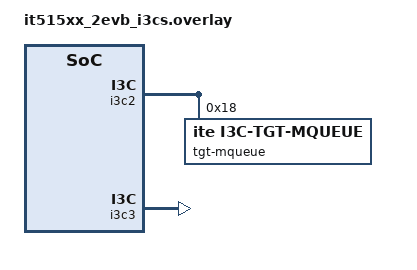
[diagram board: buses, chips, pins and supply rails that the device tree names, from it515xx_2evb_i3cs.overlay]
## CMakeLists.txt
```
# SPDX-License-Identifier: Apache-2.0

cmake_minimum_required(VERSION 3.20.0)

find_package(Zephyr REQUIRED HINTS $ENV{ZEPHYR_BASE})
project(hello_world)

if (CONFIG_ITE_2EVB_TEST OR CONFIG_ITE_LPS22DF_TEST OR CONFIG_ITE_I2C_TEST)
target_sources(app PRIVATE src/ite_i3c_sample.c)
if(CONFIG_I3C_TARGET)
target_sources(app PRIVATE src/libi3c_target.c)
endif() # CONFIG_I3C_TARGET
if(CONFIG_I3C_CONTROLLER)
target_sources(app PRIVATE src/libi3c_controller.c)
endif() # CONFIG_I3C_CONTROLLER
else()
target_sources(app PRIVATE src/main.c)
endif() # CONFIG_ITE_2EVB_TEST
```

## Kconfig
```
config INPUT_KBD_MATRIX
    default y

config INPUT_KBD_DRIVE_COLUMN_HOOK
    default y

source "Kconfig.zephyr"
```

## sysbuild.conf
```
SB_CONFIG_BOOTLOADER_MCUBOOT=y
SB_CONFIG_MCUBOOT_MODE_SWAP_USING_MOVE=y
# note that the swap-using-scratch algorithm may be removed in the coming future.
# SB_CONFIG_MCUBOOT_MODE_SWAP_SCRATCH=y

SB_CONFIG_BOOT_SIGNATURE_TYPE_RSA=y
SB_CONFIG_BOOT_SIGNATURE_KEY_FILE="/home/ren/zephyrproject/keys/it51xxx-rsa-2048.pem"
```

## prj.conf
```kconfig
CONFIG_FLASH=y
CONFIG_FLASH_MAP=y
CONFIG_STREAM_FLASH=y
CONFIG_IMG_MANAGER=y
CONFIG_MCUBOOT_IMG_MANAGER=y

CONFIG_LOG=y
CONFIG_SHELL=y
CONFIG_MCUBOOT_SHELL=y

CONFIG_REBOOT=y

CONFIG_ASSERT=y
```

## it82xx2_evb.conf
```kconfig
CONFIG_TEST=y
CONFIG_ASSERT=y
CONFIG_SHELL=y
CONFIG_LOG=y

# INPUT
CONFIG_INPUT=y

# SPI
CONFIG_SPI=y
CONFIG_SPI_LOG_LEVEL_INF=y
```

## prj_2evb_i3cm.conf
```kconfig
CONFIG_I3C=y
CONFIG_I3C_SHELL=y
CONFIG_LOG=y
CONFIG_SHELL=y
CONFIG_ITE_2EVB_TEST=y
CONFIG_ITE_LPS22DF_TEST=n
CONFIG_PM=y
CONFIG_I3C_CONTROLLER_ROLE_ONLY=y

# IT51XXX target(I3CS) only supports I3C v1.0
CONFIG_I3C_INIT_RSTACT=n

# Set dlm size as 1024(tx/rx 512 bytes)
CONFIG_I3CM_IT51XXX_DLM_SIZE=1024
```

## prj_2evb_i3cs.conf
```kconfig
CONFIG_I3C=y
CONFIG_I3C_SHELL=y
CONFIG_LOG=y
CONFIG_SHELL=y
CONFIG_ITE_2EVB_TEST=y
CONFIG_I3C_TARGET_ROLE_ONLY=y

# Enable I3CS direct mode for tx and rx
CONFIG_I3CS_TX_FIFO_4096_BYTE=y
CONFIG_I3CS_RX_FIFO_4096_BYTE=y
```

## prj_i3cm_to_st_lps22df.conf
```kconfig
CONFIG_I3C=y
CONFIG_I3C_SHELL=y
CONFIG_LOG=y
CONFIG_SENSOR=y
CONFIG_LPS2XDF=y
CONFIG_SHELL=y
CONFIG_SENSOR_SHELL=y
CONFIG_ITE_2EVB_TEST=n
CONFIG_ITE_LPS22DF_TEST=y
```

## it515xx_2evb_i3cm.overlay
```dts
/*
 * Copyright (c) 2025 ITE Corporation. All Rights Reserved.
 *
 * SPDX-License-Identifier: Apache-2.0
 */
&pinctrl {
	i3c0_clk_gpj3_default: i3c0_clk_gpj3_default {
		gpio-voltage = "1v8";
	};
	i3c0_data_gpj4_default: i3c0_data_gpj4_default {
		gpio-voltage = "1v8";
	};
	i3c1_clk_gpj5_default: i3c1_clk_gpj5_default {
		gpio-voltage = "1v8";
	};
	i3c1_data_gpe1_default: i3c1_data_gpe1_default {
		gpio-voltage = "1v8";
	};
};

&i3c0 {
	status = "okay";
	pinctrl-0 = <&i3c0_clk_gpj3_default
		     &i3c0_data_gpj4_default>;
	pinctrl-names = "default";
	i3c-scl-hz = <6000000>;
	i3c-od-scl-hz = <400000>;
	i2c-scl-hz = <400000>;
	//i3c-scl-hddat = <1>;
	i2c-scl-hddat = <2>;

	i3c_dummy@18000005fa12345678 {
		compatible = "ite,i3c-ctrl-dummy";
		reg = <0x18 0x05fa 0x12345678>;
		label = "i3c_dummy_1";
		supports-setaasa;
		status = "okay"; //disable for i2c private test
	};
	i3c_dummy@19000005fa00010000 {
		compatible = "ite,i3c-ctrl-dummy";
		reg = <0x19 0x05fa 0x00010000>;
		label = "i3c_dummy_2";
		supports-setaasa;
		status = "okay"; //disable for i2c private test
	};
	i2c_dummy@200000000000000050 {
		compatible = "ite,i3c-ctrl-dummy";
		reg = <0x20 0x0000 0x00000050>;
		label = "i2c_dummy";
		status = "disabled";
	};
};

&i3c1 {
	status = "okay";
	pinctrl-0 = <
		     &i3c1_clk_gpj5_default
		     &i3c1_data_gpe1_default>;
	pinctrl-names = "default";
	i3c-scl-hz = <2670000>; // 2.67MHz
	i3c-od-scl-hz = <650000>; // 0.65MHz
	i2c-scl-hz = <400000>;
	i3c-pp-duty-cycle = <89>;
	i3c-scl-tcas = <4>;
	i3c-scl-tcbs = <4>;
	i3c-scl-tcasr = <4>;
	i3c-scl-tcbsr = <4>;

	/* Frequency 400KHz */
	//i3c-od-scl-lo-period-ns = <1250>;
	//i3c-pp-scl-hi-period-ns = <1250>;
	//i3c-pp-scl-lo-period-ns = <1250>;
	//i3c-clk-after-start-ns = <1250>;
	//i3c-clk-before-stop-ns = <1250>;
	//i3c-clk-after-sr-ns = <1250>;
	//i3c-clk-before-sr-ns = <1250>;

	/* Frequency 1MHz */
	//i3c-od-scl-lo-period-ns = <500>;
	//i3c-pp-scl-hi-period-ns = <500>;
	//i3c-pp-scl-lo-period-ns = <500>;
	//i3c-clk-after-start-ns = <500>;
	//i3c-clk-before-stop-ns = <500>;
	//i3c-clk-after-sr-ns = <500>;
	//i3c-clk-before-sr-ns = <500>;

	lps22df@000000020800b4900b {
		//compatible = "st,lps22df";
		compatible = "ite,i3c-ctrl-dummy";
		reg = <0x00 0x0208 0x00b4900b>;
		label = "i3c_sensor_2";

		status = "disabled";
	};
};
```

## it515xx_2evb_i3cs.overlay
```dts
/*
 * Copyright (c) 2025 ITE Corporation. All Rights Reserved.
 *
 * SPDX-License-Identifier: Apache-2.0
 */

&pinctrl {
	i3c2_clk_gpe2_default: i3c2_clk_gpe2_default {
		gpio-voltage = "1v8";
	};
	i3c2_data_gpe3_default: i3c2_data_gpe3_default {
		gpio-voltage = "1v8";
	};
	i3c3_clk_gpf0_default: i3c3_clk_gpf0_default {
		gpio-voltage = "1v8";
	};
	i3c3_data_gpf1_default: i3c3_data_gpf1_default {
		gpio-voltage = "1v8";
	};
};

&i3c2 {
	status = "okay";

	pinctrl-0 = <
		     &i3c2_clk_gpe2_default
		     &i3c2_data_gpe3_default>;
	pinctrl-names = "default";
	static-address = <0x18>;
	pid-random-value = <0x12345678>;
	bcr = <0xf>; // With ibi payload
	dcr = <0x1>;

	tgt_mqueue@18 {
		compatible = "ite,i3c-tgt-mqueue";
		reg = <0x18>;
		label = "tgt-mqueue";
		status = "okay";
	};
};

&i3c3 {
	status = "okay";

	pinctrl-0 = <
		     &i3c3_clk_gpf0_default
		     &i3c3_data_gpf1_default>;
	pinctrl-names = "default";
	static-address = <0x19>;
	// bcr = <0xb>; // Without ibi payload
	bcr = <0x9>; // ibi is not capable
	dcr = <0x2>;
};
```

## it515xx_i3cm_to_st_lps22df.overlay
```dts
/*
 * Copyright (c) 2025 ITE Corporation. All Rights Reserved.
 *
 * SPDX-License-Identifier: Apache-2.0
 */
#include <zephyr/dt-bindings/sensor/lps2xdf.h>

&i3c0 {
	status = "okay";
	pinctrl-0 = <&i3c0_clk_gpj3_default
		     &i3c0_data_gpj4_default>;
	pinctrl-names = "default";
	i3c-scl-hz = <2530000>; // 2.53MHz
	i3c-od-scl-hz = <650000>; // 0.65MHz
	i2c-scl-hz = <400000>;
	i3c-pp-duty-cycle = <84>;
	i3c-scl-tcas = <5>;
	i3c-scl-tcbs = <5>;
	i3c-scl-tcasr = <5>;
	i3c-scl-tcbsr = <5>;

	/* SD0 should be connected to gnd */
	lps22df_0@5c0000020800b4100b {
		compatible = "ite,i3c-ctrl-dummy";
		reg = <0x5c 0x0208 0x00b4100b>;
		label = "ctrl_dummy_sensor";
		status = "okay";
	};

	/* SD0 should be connected to vdd */
	lps22df_1@5d0000020800b4900b {
		compatible = "st,lps22df";
		reg = <0x5d 0x0208 0x00b4900b>;
		label = "st_lps22df";
		odr = <LPS2xDF_DT_ODR_10HZ>;
		lpf = <LPS2xDF_DT_LP_FILTER_ODR_4>;
		avg = <LPS2xDF_DT_AVG_128_SAMPLES>;
		drdy-gpios = <&gpioe 0 0>;
		drdy-pulsed;
		status = "okay";
	};
};

&i3c1 {
	status = "disabled";
	pinctrl-0 = <
		     &i3c1_clk_gpj5_default
		     &i3c1_data_gpe1_default>;
	pinctrl-names = "default";
};
```

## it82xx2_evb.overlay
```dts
/ {
	chosen {
		cros-ec,keyboard = &kbd;
	};
};

&kbd {

	pinctrl-0 = <&ksi0_default
		     &ksi1_default
		     &ksi3_default
		     &ksi4_default
		     &ksi5_default
		     &ksi6_default
		     &ksi7_default
		     &kso0_default
		     &kso1_default
		     &kso2_default
		     &kso3_default
		     &kso4_default
		     &kso5_default
		     &kso6_default
		     &kso7_default
		     &kso8_default
		     &kso9_default
		     &kso10_default
		     &kso11_default
		     &kso12_default
		     &kso13_default
		     &kso14_default
		     &kso15_default>;

	col-size = <18>;

	kso-ignore-mask = <0x00004>; /* KSO2 */

	kso16-use-gpios = <&gpioa 0 (GPIO_OPEN_DRAIN | GPIO_PULL_UP)>;
	kso17-use-gpios = <&gpioc 5 (GPIO_OPEN_DRAIN | GPIO_PULL_UP)>;

	status = "okay";
};

&spi0 {
	status = "okay";

	pinctrl-0 = <&spi_ssce0_default &spi_smosi_default>;

	pinctrl-names = "default";
};
```

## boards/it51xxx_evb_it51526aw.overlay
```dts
/*
 * Copyright (c) 2026 ITE Corporation. All Rights Reserved.
 *
 * SPDX-License-Identifier: Apache-2.0
 */

/ {
	chosen {
		zephyr,code-partition = &slot0_partition;
	};
};

&flash0 {
	partitions {
		ranges;
		#address-cells = <1>;
		#size-cells = <1>;

		boot_partition: partition@0 {
			compatible = "zephyr,mapped-partition";
			label = "mcuboot";
			reg = <0x00000000 0x20000>;
		};

		slot0_partition: partition@00020000 {
			compatible = "zephyr,mapped-partition";
			label = "image0";
			reg = <0x00020000 0x30000>;
		};

		slot1_partition: partition@00050000 {
			compatible = "zephyr,mapped-partition";
			label = "image1";
			reg = <0x00050000 0x30000>;
		};

		/* scratch_partition can be removed if SB_CONFIG_MCUBOOT_MODE_SWAP_SCRATCH=n */
		scratch_partition: partition@80000 {
			compatible = "zephyr,mapped-partition";
			label = "image-scratch";
			reg = <0x00080000 0x1000>;
		};
	};
};
```

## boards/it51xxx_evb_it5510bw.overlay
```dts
/*
 * Copyright (c) 2026 ITE Corporation. All Rights Reserved.
 *
 * SPDX-License-Identifier: Apache-2.0
 */

&i3c0 {
	status = "okay";
	pinctrl-0 = <&i3c0_clk_gpj3_default
		     &i3c0_data_gpj4_default>;
	pinctrl-names = "default";
	i3c-scl-hz = <6000000>;
	i3c-od-scl-hz = <400000>;
	i2c-scl-hz = <400000>;
	//i3c-scl-hddat = <1>;
	i2c-scl-hddat = <2>;

	i2c_dummy@200000000000000050 {
		compatible = "ite,i3c-ctrl-dummy";
		reg = <0x20 0x0000 0x00000050>;
		label = "i2c_dummy";
		status = "disabled";
	};
};
```

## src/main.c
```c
/*
 * Copyright (c) 2012-2014 Wind River Systems, Inc.
 *
 * SPDX-License-Identifier: Apache-2.0
 */

#include <stdio.h>

#include <zephyr/drivers/spi.h>
#include <zephyr/drivers/flash.h>
#include <zephyr/sys/byteorder.h>

#include <zephyr/logging/log.h>
LOG_MODULE_REGISTER(flash_test, LOG_LEVEL_INF);

#define TEST_JEDEC_ID		1
#define TEST_FREQUENCY		1
#define TEST_ASYNC_TRANSFER	1
/* it51xxx spi driver doesn't support dual/quad mode */
#define TEST_QUAD_MODE		0
#define TEST_DUAL_MODE		0
#define TEST_LINE_MODE		1
#define TEST_FLASH_ACCESS	1
#define TEST_PM_CHECK		0
#define TEST_RX_ONLY		1
#define TEST_TX_ONLY		1

#define PLL_FREQ_SELECTIION 0

#define SPI_FLASH_TEST_REGION_OFFSET 0x0

#if TEST_PM_CHECK
#define SPI_FLASH_SECTOR_SIZE 0x1000 * 3 /* base 0x3000 = 12288 bytes */
#define PM_CHECK_STACK_SIZE 4096 * 20
K_THREAD_STACK_DEFINE(pm_check_stack, PM_CHECK_STACK_SIZE);
#else
#define SPI_FLASH_SECTOR_SIZE 0x1000 * 1 /* base 0x1000 = 4096 bytes */
#endif /* TEST_PM_CHECK */

#define SPI_NOR_MAX_ID_LEN 3
#define SPI_NOR_CMD_WRSR        0x01    /* Write status register */
#define SPI_NOR_WIP_BIT         BIT(0)  /* Write in progress */
#define SPI_NOR_WEL_BIT         BIT(1)  /* Write enable latch */
#define SPI_NOR_QUAD_BIT        BIT(6)  /* Write enable latch */
#define SPI_NOR_CMD_WRDI        0x04    /* Write disable */
#define SPI_NOR_CMD_RDSR        0x05    /* Read status register */
#define SPI_NOR_CMD_WREN        0x06    /* Write enable */
#define SPI_NOR_CMD_RDID        0x9F    /* Read JEDEC ID */
#define SPI_NOR_CMD_2READ       0xBB    /* Read data (1-2-2) */
#define SPI_NOR_CMD_DREAD       0x3B    /* Read data (1-1-2) */
#define SPI_NOR_CMD_2READ       0xBB    /* Read data (1-2-2) */

#define SPI_NOR_CMD_QREAD       0x6B    /* Read data (1-1-4) */
#define SPI_NOR_CMD_4READ       0xEB    /* Read data (1-4-4) */


/* Indicates that an access command includes bytes for the address.
 * If not provided the opcode is not followed by address bytes.
 */
#define NOR_ACCESS_ADDRESSED BIT(0)

/* Indicates that addressed access uses a 24-bit address regardless of
 * spi_nor_data::flag_32bit_addr.
 */
#define NOR_ACCESS_24BIT_ADDR BIT(1)

/* Indicates that addressed access uses a 32-bit address regardless of
 * spi_nor_data::flag_32bit_addr.
 */
#define NOR_ACCESS_32BIT_ADDR BIT(2)

/* Indicates that an access command is performing a write.  If not
 * provided access is a read.
 */
#define NOR_ACCESS_WRITE BIT(7)

struct device *spi_device = (struct device *)DEVICE_DT_GET(DT_NODELABEL(spi0));

static struct spi_config spi_cfg = {
	.operation = SPI_WORD_SET(8),
	.frequency = MHZ(48),
	.peripheral = 0,
};

/*
 * @brief Send an SPI command
 *
 * @param dev Device struct
 * @param opcode The command to send
 * @param access flags that determine how the command is constructed.
 *        See NOR_ACCESS_*.
 * @param addr The address to send
 * @param data The buffer to store or read the value
 * @param length The size of the buffer
 * @return 0 on success, negative errno code otherwise
 */
static int spi_nor_access(const struct device *const dev,
			  uint8_t opcode, unsigned int access,
			  off_t addr, void *data, size_t length)
{
	bool is_write = (access & NOR_ACCESS_WRITE) != 0U;
	uint8_t buf[5] = { 0 };
	struct spi_buf spi_buf[2] = {
		{
			.buf = buf,
			.len = 1,
		},
		{
			.buf = data,
			.len = length
		}
	};

	buf[0] = opcode;
	const struct spi_buf_set tx_set = {
		.buffers = spi_buf,
		.count = (length != 0) ? 2 : 1,
	};

	const struct spi_buf_set rx_set = {
		.buffers = spi_buf,
		.count = 2,
	};

	if (is_write) {
		return spi_write(dev, &spi_cfg, &tx_set);
	}

	return spi_transceive(dev, &spi_cfg, &tx_set, &rx_set);
}

#define spi_nor_cmd_read(dev, opcode, dest, length) \
	spi_nor_access(dev, opcode, 0, 0, dest, length)
#define spi_nor_cmd_addr_read(dev, opcode, addr, dest, length) \
	spi_nor_access(dev, opcode, NOR_ACCESS_ADDRESSED, addr, dest, length)
#define spi_nor_cmd_write(dev, opcode) \
	spi_nor_access(dev, opcode, NOR_ACCESS_WRITE, 0, NULL, 0)
#define spi_nor_cmd_addr_write(dev, opcode, addr, src, length) \
	spi_nor_access(dev, opcode, NOR_ACCESS_WRITE | NOR_ACCESS_ADDRESSED, \
		       addr, (void *)src, length)

#if TEST_ASYNC_TRANSFER
#define ASYNC_STACK_SIZE 512
static struct k_poll_signal async_sig = K_POLL_SIGNAL_INITIALIZER(async_sig);
__maybe_unused static struct k_poll_event async_evt =
	K_POLL_EVENT_INITIALIZER(K_POLL_TYPE_SIGNAL,
				 K_POLL_MODE_NOTIFY_ONLY,
				 &async_sig);
static K_SEM_DEFINE(caller, 0, 1);
K_THREAD_STACK_DEFINE(spi_async_stack, ASYNC_STACK_SIZE);

__maybe_unused static void spi_async_call_cb(void *p1,
			      void *p2,
			      void *p3)
{
	ARG_UNUSED(p1);
	ARG_UNUSED(p2);
	ARG_UNUSED(p3);

	struct k_poll_event *evt = p1;
	struct k_sem *caller_sem = p2;
	int ret, result = 1;

	LOG_INF("Polling...");

	while (1) {
		ret = k_poll(evt, 1, K_MSEC(2000));

		if (!ret) {
			result = evt->signal->result;
			k_sem_give(caller_sem);

			/* Reinitializing for next call */
			evt->signal->signaled = 0U;
			evt->state = K_POLL_STATE_NOT_READY;
		}
	}
}

__maybe_unused static int read_jedec_id_async(const struct device *dev)
{
	int ret;
	uint8_t tx_data[1] = { SPI_NOR_CMD_RDID };
	uint8_t rx_data[3] = { 0 };
	struct spi_buf spi_buf[2] = {
		{
			.buf = tx_data,
			.len = sizeof(tx_data),
		},
		{
			.buf = rx_data,
			.len = sizeof(rx_data),
		}
	};

	const struct spi_buf_set tx_set = {.buffers = spi_buf, .count = 2};
	const struct spi_buf_set rx_set = {.buffers = spi_buf, .count = 2};

	ret = spi_transceive_signal(dev, &spi_cfg, &tx_set, &rx_set, &async_sig);
	if (ret) {
		LOG_ERR("Failed to send spi data");
		return ret;
	}

	k_sem_take(&caller, K_FOREVER);

	LOG_HEXDUMP_INF(spi_buf[1].buf, spi_buf[1].len, "JEDEC ID:");
	return 0;
}
#endif /* TEST_ASYNC_TRANSFER */

#if TEST_PM_CHECK
static bool is_finished;
static void pm_check_cb(void *p1, void *p2, void *p3)
{
	ARG_UNUSED(p1);
	ARG_UNUSED(p2);
	ARG_UNUSED(p3);

	const struct device *flash_dev = DEVICE_DT_GET(DT_ALIAS(spi_flash0));
	uint8_t expected[10240] = { 0 };
	size_t len = sizeof(expected);
	uint8_t buffer[sizeof(expected)];
	int ret, cnt = 0;

	do {
		if (!is_finished) {
			goto out;
		}

		if (!device_is_ready(flash_dev)) {
			LOG_ERR("%s: device not ready", flash_dev->name);
			return;
		}

		ret = flash_erase(flash_dev, SPI_FLASH_TEST_REGION_OFFSET,
				 SPI_FLASH_SECTOR_SIZE);
		if (ret != 0) {
			LOG_ERR("Flash erase failed! %d", ret);
			goto out;
		} else {
			LOG_INF("Flash erase succeeded!");
		}

		memset(buffer, 0, len);
		ret = flash_read(flash_dev, SPI_FLASH_TEST_REGION_OFFSET, buffer, len);
		if (ret != 0) {
			LOG_ERR("Flash read failed! %d", ret);
			goto out;
		}

		for(int i = 0; i < sizeof(expected); i++) {
			expected[i] = i;
		}

		LOG_INF("Attempting to write %zu bytes", sizeof(expected));
		ret = flash_write(flash_dev, SPI_FLASH_TEST_REGION_OFFSET, expected, sizeof(expected));
		if (ret != 0) {
			LOG_ERR("Flash write failed! %d", ret);
			goto out;
		}

		memset(buffer, 0, len);
		ret = flash_read(flash_dev, SPI_FLASH_TEST_REGION_OFFSET, buffer, len);
		if (ret != 0) {
			LOG_ERR("Flash read failed! %d", ret);
			goto out;
		}

		if (memcmp(expected, buffer, len) == 0) {
			LOG_INF("Data read matches data written. Good!!");
		} else {
			LOG_ERR("Data read does not match data written!!");
			goto out;
		}

out:
		k_sleep(K_MSEC(1000));
		cnt++;
	} while (cnt <= 10);
}
#endif

__maybe_unused static int read_jedec_id(const struct device *dev)
{
	uint8_t jedec_id[SPI_NOR_MAX_ID_LEN];
	int ret;

	ret = spi_nor_cmd_read(dev, SPI_NOR_CMD_RDID, jedec_id, SPI_NOR_MAX_ID_LEN);
	if (ret) {
		LOG_ERR("Failed to send spi data");
		return ret;
	}

	LOG_HEXDUMP_INF(jedec_id, sizeof(jedec_id), "JEDEC ID:");
	return 0;
}

__maybe_unused static int flash_access_test() {
	const struct device *flash_dev = DEVICE_DT_GET(DT_ALIAS(spi_flash0));
	uint8_t expected[128] = { 0 };
	size_t len = sizeof(expected);
	uint8_t buffer[sizeof(expected)];
	int ret;

	if (!device_is_ready(flash_dev)) {
		LOG_ERR("%s: device not ready", flash_dev->name);
		return -ENODEV;
	}

	ret = flash_erase(flash_dev, SPI_FLASH_TEST_REGION_OFFSET,
			 SPI_FLASH_SECTOR_SIZE);
	if (ret != 0) {
		LOG_ERR("Flash erase failed! %d", ret);
		return ret;
	} else {
		LOG_INF("Flash erase succeeded!");
	}

	memset(buffer, 0, len);
	ret = flash_read(flash_dev, SPI_FLASH_TEST_REGION_OFFSET, buffer, len);
	if (ret != 0) {
		LOG_ERR("Flash read failed! %d", ret);
		return -1;
	}
	LOG_HEXDUMP_DBG(buffer, len, "RX: ");

	for(int i = 0; i < sizeof(expected); i++) {
		expected[i] = (i / 10) * 0x10 + (i % 10);
	}
	LOG_HEXDUMP_DBG(expected, sizeof(expected), "TX: ");

	LOG_INF("Attempting to write %zu bytes", sizeof(expected));
	ret = flash_write(flash_dev, SPI_FLASH_TEST_REGION_OFFSET, expected, sizeof(expected));
	if (ret != 0) {
		LOG_ERR("Flash write failed! %d", ret);
		return -1;
	}

	memset(buffer, 0, len);
	ret = flash_read(flash_dev, SPI_FLASH_TEST_REGION_OFFSET, buffer, len);
	if (ret != 0) {
		LOG_ERR("Flash read failed! %d", ret);
		return -1;
	}

	LOG_HEXDUMP_DBG(buffer, len, "RX: ");
	if (memcmp(expected, buffer, len) == 0) {
		LOG_INF("Data read matches data written. Good!!");
	} else {
		LOG_ERR("Data read does not match data written!!");
		return -1;
	}
	return 0;
}

__maybe_unused static int dual_mode_test(const struct device *dev)
{
	uint8_t tx_data[] = {SPI_NOR_CMD_2READ, 0x0, 0x0, 0x0, 0xFF};
	uint8_t rx_data[16] = { 0 };
	struct spi_buf spi_buf[2] = {
		{
			.buf = tx_data,
			.len = sizeof(tx_data),
		},
		{
			.buf = rx_data,
			.len = sizeof(rx_data),
		}
	};

	const struct spi_buf_set tx_set = {.buffers = spi_buf, .count = 1};
	const struct spi_buf_set rx_set = {.buffers = spi_buf + 1, .count = 1};
	int ret;

	ret = spi_transceive(dev, &spi_cfg, &tx_set, &rx_set);

	if (ret) {
		LOG_ERR("Failed to send spi data: %d\n", ret);
		return ret;
	}

	LOG_HEXDUMP_INF(spi_buf[1].buf, spi_buf[1].len, "Dual read:");
	return 0;
}

__maybe_unused static int quad_enable(const struct device *dev, const bool enable)
{
	int ret;
	uint8_t reg;

	// Write enable
	ret = spi_nor_cmd_write(dev, SPI_NOR_CMD_WREN);
	do {
		ret = spi_nor_cmd_read(dev, SPI_NOR_CMD_RDSR, &reg, sizeof(reg));
		k_sleep(K_MSEC(10));
	} while ((reg & SPI_NOR_WEL_BIT) != SPI_NOR_WEL_BIT);

	// Quad enable or disable
	uint8_t tx_data[] = { SPI_NOR_CMD_WRSR, SPI_NOR_QUAD_BIT };
	struct spi_buf spi_buf[1] = {
		{
			.buf = tx_data,
			.len = sizeof(tx_data),
		},
	};

	if (enable) {
		tx_data[1] = SPI_NOR_QUAD_BIT;
	} else {
		tx_data[1] = 0;
	}

	const struct spi_buf_set tx_set = {.buffers = spi_buf, .count = 1};
	ret = spi_transceive(dev, &spi_cfg, &tx_set, NULL);
	if (ret) {
		LOG_ERR("Failed to send spi data: %d\n", ret);
		return ret;
	}
	do {
		ret = spi_nor_cmd_read(dev, SPI_NOR_CMD_RDSR, &reg, sizeof(reg));
		k_sleep(K_MSEC(10));
	} while ((reg & SPI_NOR_QUAD_BIT) != SPI_NOR_QUAD_BIT);

	// Write disable
	ret = spi_nor_cmd_write(dev, SPI_NOR_CMD_WRDI);
	do {
		ret = spi_nor_cmd_read(dev, SPI_NOR_CMD_RDSR, &reg, sizeof(reg));
		k_sleep(K_MSEC(10));
	} while ((reg & SPI_NOR_WEL_BIT) == SPI_NOR_WEL_BIT);

	return 0;
}

__maybe_unused static int quad_mode_test(const struct device *dev)
{
	uint8_t tx_data[] = {SPI_NOR_CMD_4READ, 0x0, 0x0, 0x0, 0x0, 0xFF, 0xFF};
	uint8_t rx_data[16] = { 0 };
	struct spi_buf spi_buf[2] = {
		{
			.buf = tx_data,
			.len = sizeof(tx_data),
		},
		{
			.buf = rx_data,
			.len = sizeof(rx_data),
		}
	};

	const struct spi_buf_set tx_set = {.buffers = spi_buf, .count = 1};
	const struct spi_buf_set rx_set = {.buffers = spi_buf + 1, .count = 1};
	int ret;

	ret = spi_transceive(dev, &spi_cfg, &tx_set, &rx_set);

	if (ret) {
		LOG_ERR("Failed to send spi data: %d", ret);
		return ret;
	}

	LOG_HEXDUMP_INF(spi_buf[1].buf, spi_buf[1].len, "Quad read:");
	return 0;
}

__maybe_unused static int test_rx_only(const struct device *dev)
{
	int ret;
	uint8_t rx_data[16] = { 0 };
	struct spi_buf spi_buf[1] = {
		{
			.buf = rx_data,
			.len = sizeof(rx_data),
		}
	};

	const struct spi_buf_set rx_set = {.buffers = spi_buf, .count = 1};

	ret = spi_read(dev, &spi_cfg, &rx_set);
	if (ret) {
		LOG_ERR("Failed to read spi data");
		return ret;
	}

	LOG_HEXDUMP_INF(spi_buf[0].buf, spi_buf[0].len, "RX:");
	return 0;
}

__maybe_unused static int test_tx_only(const struct device *dev)
{
	int ret;
	uint8_t tx_data[17] = { 0 };
	uint8_t rx_data[10] = { 0 };
	struct spi_buf spi_buf[2] = {
		{
			.buf = tx_data,
			.len = sizeof(tx_data),
		},
		{
			.buf = rx_data,
			.len = sizeof(rx_data),
		}
	};

	const struct spi_buf_set tx_set = {.buffers = spi_buf, .count = 2};
	const struct spi_buf_set rx_set = {.buffers = spi_buf, .count = 2};

	for (int i = 0; i < sizeof(tx_data); i++) {
		tx_data[i] = i;
	}

	ret = spi_transceive(dev, &spi_cfg, &tx_set, &rx_set);
	if (ret) {
		LOG_ERR("Failed to send spi data");
		return ret;
	}

	LOG_HEXDUMP_INF(spi_buf[1].buf, spi_buf[1].len, "RX:");
	return 0;
}

int main(void)
{
	int ret;

	spi_cfg.operation |= SPI_LINES_SINGLE;
	spi_cfg.frequency = 12000000;
	LOG_INF("Default SPI Frequency = %dHz", spi_cfg.frequency);

#if TEST_JEDEC_ID
	spi_cfg.peripheral = 0;
	LOG_INF("============Read JEDEC ID(CS=%d)==============", spi_cfg.peripheral);
	ret = read_jedec_id(spi_device);
	// if (ret) {
	// 	return ret;
	// }
	// ret = read_jedec_id(spi_device);
	// if (ret) {
	// 	return ret;
	// }

	// spi_cfg.peripheral = 1;
	// LOG_INF("============Read JEDEC ID(CS=%d)==============", spi_cfg.peripheral);
	// ret = read_jedec_id(spi_device);
	// if (ret) {
	// 	return ret;
	// }
	spi_cfg.peripheral = 0;
#endif

#if TEST_FLASH_ACCESS
	spi_cfg.peripheral = 0;
	LOG_INF("============Flash Access(CS=%d)==============", spi_cfg.peripheral);
	ret = flash_access_test();
	if (ret) {
		// return ret;
	}
	spi_cfg.peripheral = 0;

	LOG_INF("============Read JEDEC ID(CS=%d)==============", spi_cfg.peripheral);
	ret = read_jedec_id(spi_device);
#endif /* TEST_FLASH_ACCESS */
	return 0;
}

#if TEST_PM_CHECK
K_THREAD_DEFINE(blink0_id, PM_CHECK_STACK_SIZE, pm_check_cb, NULL, NULL, NULL,
				7, 0, 0);
#endif
```

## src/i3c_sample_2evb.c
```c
/*
 * Copyright (c) 2012-2014 Wind River Systems, Inc.
 *
 * SPDX-License-Identifier: Apache-2.0
 */

#include <stdio.h>

#include "libi3c_controller.h"
#include "libi3c_target.h"

#include <zephyr/drivers/i3c.h>
#include <zephyr/drivers/i3c/target_device.h>
#include <zephyr/kernel.h>
#include <zephyr/sys/byteorder.h>

#include <zephyr/logging/log.h>
LOG_MODULE_REGISTER(i3c_sample_2evb, LOG_LEVEL_DBG);

/* only apply at the controller side */
#define TEST_BROADCAST_CCC 0
#define TEST_DIRECT_CCC    0
#define TEST_ZEPHYR_API    0

int main(void)
{

#if DT_NODE_HAS_STATUS(DT_NODELABEL(i3c2), okay) || DT_NODE_HAS_STATUS(DT_NODELABEL(i3c3), okay)
	LOG_INF("2 EVBs: target side...");
	return 0;
#endif

	LOG_INF("2 EVBs: controller side...");
#if DT_NODE_HAS_STATUS(DT_NODELABEL(i3c0), okay)
	const struct device *controll_dev_1, *dummy_dev1, *dummy_dev2, *st_sensor_dev;
	controll_dev_1 = device_get_binding("i3c@f03c00");
	if (!controll_dev_1) {
		LOG_ERR("failed to get i3c device");
		return -ENODEV;
	}

	st_sensor_dev = device_get_binding("i3c_sensor");
	if (!st_sensor_dev) {
		LOG_ERR("failed to get i3c_sensor dev");
		return -ENODEV;
	}

	// dummy_dev1 = device_get_binding("i3c_dummy_1");
	// if (!dummy_dev1) {
	// 	LOG_ERR("failed to get i3c_dummy_1 dev");
	// 	return -ENODEV;
	// }

	// dummy_dev2 = device_get_binding("i3c_dummy_2");
	// if (!dummy_dev2) {
	// 	LOG_ERR("failed to get i3c_dummy_2 dev");
	// 	return -ENODEV;
	// }

	// cmd_i3c_ccc_rstdaa(controll_dev_1);
	// i3c_do_daa(controll_dev_1);
	// cmd_i3c_ccc_getbcr(controll_dev_1,st_sensor_dev);
#if TEST_BROADCAST_CCC
	cmd_i3c_ccc_rstdaa(controll_dev_1);
	i3c_do_daa(controll_dev_1);
#endif /* TEST_BROADCAST_CCC */

#if TEST_DIRECT_CCC
	cmd_i3c_ccc_getpid(controll_dev_1, dummy_dev1);
	cmd_i3c_ccc_getpid(controll_dev_1, dummy_dev2);

	i3c_ccc_do_getpid_multi_tdev(controll_dev_1, dummy_dev1, dummy_dev2);
	i3c_ccc_do_setmwl_multi_tdev(controll_dev_1, dummy_dev1, dummy_dev2);
	cmd_i3c_ccc_getmwl(controll_dev_1, dummy_dev1);
	cmd_i3c_ccc_getmwl(controll_dev_1, dummy_dev2);
#endif /* TEST_DIRECT_CCC */

#if TEST_ZEPHYR_API
	libi3c_write(controll_dev_1, dummy_dev1);
	k_sleep(K_MSEC(1));
	libi3c_read(controll_dev_1, dummy_dev1, NULL);
	k_sleep(K_MSEC(1));
	libi3c_reg_write_byte(controll_dev_1, dummy_dev1);
	k_sleep(K_MSEC(1));

	/* I3CS direct mode is unsupported */
	// libi3c_burst_write(controll_dev_1, dummy_dev1);

	/* I3CS doesn't support private write-then-read */
	// libi3c_write_read(controll_dev_1, dummy_dev1, NULL);
	// libi3c_burst_read(controll_dev_1, dummy_dev1, NULL);
	// libi3c_reg_read_byte(controll_dev_1, dummy_dev1, NULL);
	// libi3c_reg_update_byte(controll_dev_1, dummy_dev1, NULL);

	LOG_INF("finished zephyr i3c_transfer_api test");
#endif /* TEST_ZEPHYR_API */

#endif /* DT_NODE_HAS_STATUS(DT_NODELABEL(i3c0), okay)*/

	return 0;
}
```

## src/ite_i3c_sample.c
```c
/*
 * Copyright (c) 2012-2014 Wind River Systems, Inc.
 *
 * SPDX-License-Identifier: Apache-2.0
 */

#include <stdio.h>

#if defined(CONFIG_I3C_CONTROLLER) || defined(__DOXYGEN__)
#include "libi3c_controller.h"
#endif /* CONFIG_I3C_CONTROLLER */
#if defined(CONFIG_I3C_TARGET) || defined(__DOXYGEN__)
#include "libi3c_target.h"
#endif /* CONFIG_I3C_TARGET */

#include <zephyr/drivers/i3c.h>
#if defined(CONFIG_I3C_TARGET) || defined(__DOXYGEN__)
#include <zephyr/drivers/i3c/target_device.h>
#endif /* CONFIG_I3C_TARGET */
#include <zephyr/kernel.h>
#include <zephyr/sys/byteorder.h>

#include <zephyr/logging/log.h>
LOG_MODULE_REGISTER(i3c_sample_2evb, LOG_LEVEL_DBG);

#ifdef CONFIG_ITE_I2C_TEST
#define TEST_ZEPHYR_API 1
#endif /* CONFIG_ITE_I2C_TEST */

#ifdef CONFIG_ITE_LPS22DF_TEST
#define TEST_ZEPHYR_API 1
#endif /* CONFIG_ITE_LPS22DF_TEST */

#ifdef CONFIG_ITE_2EVB_TEST
/* only apply at the controller side */
#define TEST_BROADCAST_CCC 0
#define TEST_DIRECT_CCC    0
#define TEST_ZEPHYR_API    0
#endif /* CONFIG_ITE_2EVB_TEST */

int main(void)
{

#ifdef CONFIG_ITE_I2C_TEST
#ifdef TEST_ZEPHYR_API
	const struct device *dev;
	int dev_addr = 0x5D;
	uint8_t reg_addr = 0x0F;
	uint8_t reg_value_origin;
	uint8_t buf[16];
	int ret;

	dev = device_get_by_dt_nodelabel("i3c0");
	if (!dev) {
		LOG_ERR("failed to get i3c0 device");
		return -ENODEV;
	}

	ret = i2c_write_read(dev, dev_addr, &reg_addr, 1, buf, 1);
	if (ret < 0) {
		LOG_ERR("i2c: failed to read from device: 0x%x", dev_addr);
		return -EIO;
	}
	LOG_INF("i2c: finished write-then-read test. offset[%02x]: 0x%x", reg_addr, buf[0]);

	reg_addr = 0x10;
	ret = i2c_reg_read_byte(dev, dev_addr, reg_addr, buf);
	if (ret < 0) {
		LOG_ERR("i2c: failed to read from device: 0x%x", dev_addr);
		return -EIO;
	}
	LOG_INF("i2c: finished to read byte test. offset[%02x]: 0x%x", reg_addr, buf[0]);
	reg_value_origin = buf[0];

	ret = i2c_reg_write_byte(dev, dev_addr, reg_addr, 0x0F);
	if (ret < 0) {
		LOG_ERR("i2c: failed to write from device: 0x%x", dev_addr);
		return -EIO;
	}

	ret = i2c_reg_read_byte(dev, dev_addr, reg_addr, buf);
	if (ret < 0) {
		LOG_ERR("i2c: failed to read from device: 0x%x", dev_addr);
		return -EIO;
	}
	if (buf[0] != 0x0F) {
		LOG_INF("i2c: failed to write byte test");
		return -EIO;
	}
	LOG_INF("i2c: finished to write byte test. offset[%02x]: 0x%x", reg_addr, buf[0]);

	ret = i2c_reg_update_byte(dev, dev_addr, reg_addr, 0xFF, reg_value_origin);
	if (ret < 0) {
		LOG_ERR("Failed to read from device: 0x%x", dev_addr);
		return -EIO;
	}

	ret = i2c_reg_read_byte(dev, dev_addr, reg_addr, buf);
	if (ret < 0) {
		LOG_ERR("i2c: failed to read from device: 0x%x", dev_addr);
		return -EIO;
	}
	if (reg_value_origin != buf[0]) {
		LOG_INF("i2c: failed to update byte test");
		return -EIO;
	}
	LOG_INF("i2c: finished to update byte test. offset[%02xh]: 0x%x", reg_addr, buf[0]);

	reg_addr = 0x0;
	ret = i2c_burst_read(dev, dev_addr, reg_addr, buf, sizeof(buf));
	if (ret < 0) {
		LOG_ERR("i2c: failed to burst read test");
		return -EIO;
	}
	LOG_INF("i2c: finished to burst read test.");
	LOG_HEXDUMP_INF(buf, sizeof(buf), "burst read:");
#endif /* TEST_ZEPHYR_API */
#endif /* CONFIG_ITE_I2C_TEST */

#ifdef CONFIG_ITE_LPS22DF_TEST
	const struct device *controll_dev_1, *ctrl_dummy_sensor, *st_lps22df;

	controll_dev_1 = device_get_binding("i3c@f03c00");
	if (!controll_dev_1) {
		LOG_ERR("failed to get i3c device");
		return -ENODEV;
	}

	ctrl_dummy_sensor = device_get_binding("ctrl_dummy_sensor");
	if (!ctrl_dummy_sensor) {
		LOG_ERR("failed to get ctrl_dummy_sensor dev");
	}

	st_lps22df = device_get_binding("st_lps22df");
	if (!st_lps22df) {
		LOG_ERR("failed to get st_lps22df dev");
	}

#if TEST_ZEPHYR_API
	const uint8_t reg_addr = 0x10;
	uint8_t reg_value, reg_value_origin;

	libi3c_reg_read_byte(controll_dev_1, ctrl_dummy_sensor, NULL, reg_addr, &reg_value_origin);
	libi3c_reg_write_byte(controll_dev_1, ctrl_dummy_sensor, reg_addr, 0xEF);
	libi3c_reg_read_byte(controll_dev_1, ctrl_dummy_sensor, NULL, reg_addr, &reg_value);
	if (reg_value != 0xEF) {
		LOG_INF("failed to write/read register");
		return -EINVAL;
	}
	libi3c_reg_update_byte(controll_dev_1, ctrl_dummy_sensor, NULL, reg_addr, 0xFF,
			       reg_value_origin);
	libi3c_reg_read_byte(controll_dev_1, ctrl_dummy_sensor, NULL, reg_addr, &reg_value);
	if (reg_value != reg_value_origin) {
		LOG_INF("failed to update/read register");
		return -EINVAL;
	}
	LOG_INF("finished to test write/read/update register");
#endif /* TEST_ZEPHYR_API */
#endif /* CONFIG_ITE_LPS22DF_TEST */

#ifdef CONFIG_ITE_2EVB_TEST
#if DT_NODE_HAS_STATUS(DT_NODELABEL(i3c2), okay) || DT_NODE_HAS_STATUS(DT_NODELABEL(i3c3), okay)
	LOG_INF("2 EVBs: target side...");
	return 0;
#endif

	LOG_INF("2 EVBs: controller side...");
#if DT_NODE_HAS_STATUS(DT_NODELABEL(i3c0), okay)
	const struct device *controll_dev_1, *dummy_dev1, *dummy_dev2;
	controll_dev_1 = device_get_binding("i3c@f03c00");
	if (!controll_dev_1) {
		LOG_ERR("failed to get i3c device");
		return -ENODEV;
	}

	dummy_dev1 = device_get_binding("i3c_dummy_1");
	if (!dummy_dev1) {
		LOG_ERR("failed to get i3c_dummy_1 dev");
		return -ENODEV;
	}

	dummy_dev2 = device_get_binding("i3c_dummy_2");
	if (!dummy_dev2) {
		LOG_ERR("failed to get i3c_dummy_2 dev");
		return -ENODEV;
	}

#if TEST_BROADCAST_CCC
	cmd_i3c_ccc_rstdaa(controll_dev_1);
	i3c_do_daa(controll_dev_1);
#endif /* TEST_BROADCAST_CCC */

#if TEST_DIRECT_CCC
	cmd_i3c_ccc_getpid(controll_dev_1, dummy_dev1);
	cmd_i3c_ccc_getpid(controll_dev_1, dummy_dev2);

	i3c_ccc_do_getpid_multi_tdev(controll_dev_1, dummy_dev1, dummy_dev2);
	i3c_ccc_do_setmwl_multi_tdev(controll_dev_1, dummy_dev1, dummy_dev2);
	cmd_i3c_ccc_getmwl(controll_dev_1, dummy_dev1);
	cmd_i3c_ccc_getmwl(controll_dev_1, dummy_dev2);
#endif /* TEST_DIRECT_CCC */

#if TEST_ZEPHYR_API
	libi3c_write(controll_dev_1, dummy_dev1);
	k_sleep(K_MSEC(1));
	libi3c_read(controll_dev_1, dummy_dev1, NULL);
	k_sleep(K_MSEC(1));
	libi3c_reg_write_byte(controll_dev_1, dummy_dev1, 0xDD, 0xD0);
	k_sleep(K_MSEC(1));

	/* I3CS direct mode is unsupported */
	// libi3c_burst_write(controll_dev_1, dummy_dev1);

	/* I3CS doesn't support private write-then-read */
	// libi3c_write_read(controll_dev_1, dummy_dev1, NULL);
	// libi3c_burst_read(controll_dev_1, dummy_dev1, NULL);
	// libi3c_reg_read_byte(controll_dev_1, dummy_dev1, NULL);
	// libi3c_reg_update_byte(controll_dev_1, dummy_dev1, NULL, 0xEE, 0x0F, 0x0A);

	LOG_INF("finished zephyr i3c_transfer_api test");
#endif /* TEST_ZEPHYR_API */

#endif /* DT_NODE_HAS_STATUS(DT_NODELABEL(i3c0), okay)*/
#endif /* CONFIG_ITE_2EVB_TEST */
	return 0;
}
```

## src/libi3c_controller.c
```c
/*
 * Copyright (c) 2025 ITE Technology Inc.
 *
 * SPDX-License-Identifier: Apache-2.0
 */

#include "libi3c_controller.h"

#include <zephyr/logging/log.h>
LOG_MODULE_REGISTER(libi3c_controller, LOG_LEVEL_DBG);

struct i3c_device_desc *get_i3c_attached_desc_from_dev_name(const struct device *dev,
							    const char *tdev_name)
{
	struct i3c_device_desc *i3c_desc;

	I3C_BUS_FOR_EACH_I3CDEV(dev, i3c_desc) {
		/* only look for a device with the same name */
		if (strcmp(i3c_desc->dev->name, tdev_name) == 0) {
			return i3c_desc;
		}
	}

	return NULL;
}

int i3c_get_tdev_desc(const struct device *dev, const struct device *tdev,
		      struct i3c_device_desc **desc)
{
	*desc = get_i3c_attached_desc_from_dev_name(dev, tdev->name);
	if (!*desc) {
		LOG_ERR("I3C: Device %s not attached to bus.", tdev->name);
		return -ENODEV;
	}

	return 0;
}

int cmd_i3c_ccc_rstdaa(const struct device *dev)
{
	struct i3c_device_desc *desc;
	int ret;

	ret = i3c_ccc_do_rstdaa_all(dev);
	if (ret < 0) {
		LOG_ERR("failed to send broadcast ccc rstdaa");
		return ret;
	}

	/* reset all devices DA */
	I3C_BUS_FOR_EACH_I3CDEV(dev, desc) {
		desc->dynamic_addr = 0;
		LOG_INF("reseted dynamic address for device %s", desc->dev->name);
	}

	return ret;
}

int cmd_i3c_ccc_getpid(const struct device *dev, const struct device *tdev)
{
	struct i3c_device_desc *desc;
	struct i3c_ccc_getpid pid;
	int ret;

	ret = i3c_get_tdev_desc(dev, tdev, &desc);
	if (ret != 0) {
		return ret;
	}

	ret = i3c_ccc_do_getpid(desc, &pid);
	if (ret < 0) {
		LOG_ERR("I3C: unable to send CCC GETPID.");
		return ret;
	}

	LOG_INF("%s pid: 0x%012llx", tdev->name, sys_get_be48(pid.pid));

	return ret;
}

int cmd_i3c_ccc_getbcr(const struct device *dev, const struct device *tdev)
{
	struct i3c_device_desc *desc;
	struct i3c_ccc_getbcr bcr;
	int ret;

	ret = i3c_get_tdev_desc(dev, tdev, &desc);
	if (ret != 0) {
		return ret;
	}

	ret = i3c_ccc_do_getbcr(desc, &bcr);
	if (ret < 0) {
		LOG_ERR("I3C: unable to send CCC GETBCR.");
		return ret;
	}

	LOG_INF("%s bcr: 0x%02x", tdev->name, bcr.bcr);

	return ret;
}

int i3c_ccc_do_getpid_multi_tdev(const struct device *dev, const struct device *tdev1,
				 const struct device *tdev2)
{
	struct i3c_ccc_payload ccc_payload;
	struct i3c_ccc_target_payload ccc_tgt_payload[4];
	struct i3c_ccc_getpid pid[4];
	struct i3c_device_desc *target1, *target2;
	int ret;

	ret = i3c_get_tdev_desc(dev, tdev1, &target1);
	if (ret != 0) {
		return ret;
	}

	ret = i3c_get_tdev_desc(dev, tdev2, &target2);
	if (ret != 0) {
		return ret;
	}

	ccc_tgt_payload[0].addr = target1->dynamic_addr;
	ccc_tgt_payload[0].rnw = 1;
	ccc_tgt_payload[0].data = &pid[0].pid[0];
	ccc_tgt_payload[0].data_len = sizeof(pid[0].pid);

	ccc_tgt_payload[1].addr = target2->dynamic_addr;
	ccc_tgt_payload[1].rnw = 1;
	ccc_tgt_payload[1].data = &pid[1].pid[0];
	ccc_tgt_payload[1].data_len = sizeof(pid[1].pid);

	ccc_tgt_payload[2].addr = target1->dynamic_addr;
	ccc_tgt_payload[2].rnw = 1;
	ccc_tgt_payload[2].data = &pid[2].pid[0];
	ccc_tgt_payload[2].data_len = sizeof(pid[2].pid);

	ccc_tgt_payload[3].addr = target2->dynamic_addr;
	ccc_tgt_payload[3].rnw = 1;
	ccc_tgt_payload[3].data = &pid[3].pid[0];
	ccc_tgt_payload[3].data_len = sizeof(pid[3].pid);

	memset(&ccc_payload, 0, sizeof(ccc_payload));
	ccc_payload.ccc.id = I3C_CCC_GETPID;
	ccc_payload.targets.payloads = ccc_tgt_payload;
	ccc_payload.targets.num_targets = 4;

	ret = i3c_do_ccc(target1->bus, &ccc_payload);
	if (!ret) {
		LOG_INF("%s pid: 0x%012llx, %s pid: 0x%012llx", tdev1->name,
			sys_get_be48(pid[0].pid), tdev2->name, sys_get_be48(pid[1].pid));
		LOG_INF("%s pid: 0x%012llx, %s pid: 0x%012llx", tdev1->name,
			sys_get_be48(pid[2].pid), tdev2->name, sys_get_be48(pid[3].pid));
	}
	return ret;
}

int cmd_i3c_ccc_getmwl(const struct device *dev, const struct device *tdev)
{
	struct i3c_device_desc *desc;
	struct i3c_ccc_mwl mwl;
	int ret;

	ret = i3c_get_tdev_desc(dev, tdev, &desc);
	if (ret != 0) {
		return ret;
	}

	ret = i3c_ccc_do_getmwl(desc, &mwl);
	if (ret < 0) {
		LOG_INF("I3C: unable to send CCC GETMWL");
		return ret;
	}

	LOG_INF("%s mwl: 0x%04x", tdev->name, mwl.len);
	desc->data_length.mwl = mwl.len;

	return ret;
}

int i3c_ccc_do_setmwl_multi_tdev(const struct device *dev, const struct device *tdev1,
				 const struct device *tdev2)
{
	struct i3c_ccc_payload ccc_payload;
	struct i3c_ccc_target_payload ccc_tgt_payload[2];
	uint8_t data1[2], data2[2];
	struct i3c_device_desc *target1, *target2;
	struct i3c_ccc_mwl mwl[2];
	int ret;

	ret = i3c_get_tdev_desc(dev, tdev1, &target1);
	if (ret != 0) {
		return ret;
	}

	ret = i3c_get_tdev_desc(dev, tdev2, &target2);
	if (ret != 0) {
		return ret;
	}

	memset(&ccc_payload, 0, sizeof(ccc_payload));

	ccc_tgt_payload[0].addr = target1->dynamic_addr;
	ccc_tgt_payload[0].rnw = 0;
	ccc_tgt_payload[0].data = &data1[0];
	ccc_tgt_payload[0].data_len = sizeof(data1);

	ccc_tgt_payload[1].addr = target2->dynamic_addr;
	ccc_tgt_payload[1].rnw = 0;
	ccc_tgt_payload[1].data = &data2[0];
	ccc_tgt_payload[1].data_len = sizeof(data2);

	ccc_payload.ccc.id = I3C_CCC_SETMWL(false);
	ccc_payload.targets.payloads = &ccc_tgt_payload[0];
	ccc_payload.targets.num_targets = 2;

	mwl[0].len = 0x1AA;
	mwl[1].len = 0x2BB;
	/* The actual length is MSB first. So order the data. */
	sys_put_be16(mwl[0].len, data1);
	sys_put_be16(mwl[1].len, data2);

	ret = i3c_do_ccc(target1->bus, &ccc_payload);
	if (!ret) {
		LOG_INF("finish set multi mwl");
	}
	return ret;
}

int i3c_write_read_without_7eh(struct i3c_device_desc *target, const bool write, const uint8_t *buf,
			       uint32_t num_bytes)
{
	struct i3c_msg msg;

	msg.buf = (uint8_t *)buf;
	msg.len = num_bytes;
	msg.flags = write ? (I3C_MSG_WRITE | I3C_MSG_NBCH | I3C_MSG_STOP)
			  : (I3C_MSG_READ | I3C_MSG_NBCH | I3C_MSG_STOP);
	msg.hdr_mode = 0;
	msg.hdr_cmd_code = 0;

	return i3c_transfer(target, &msg, 1);
}

int i3c_write_read_nbytes(const struct device *dev, const struct device *tdev, const bool write,
			  const size_t nbytes, const uint8_t bios, const bool without_7eh)
{
	struct i3c_device_desc *target;
	uint8_t buf[64] = {0};
	int ret;

	ret = i3c_get_tdev_desc(dev, tdev, &target);
	if (ret != 0) {
		return ret;
	}

	if (write) {
		for (size_t i = 0; i < nbytes; i++) {
			buf[i] = i + bios * 7;
		}

		if (without_7eh) {
			ret = i3c_write_read_without_7eh(target, write, buf, nbytes);
		} else {
			ret = i3c_write(target, buf, nbytes);
		}
	} else {
		if (without_7eh) {
			ret = i3c_write_read_without_7eh(target, write, buf, nbytes);
		} else {
			ret = i3c_read(target, buf, nbytes);
		}
		LOG_HEXDUMP_INF(buf, nbytes, "rx:");
	}

	if (ret < 0) {
		LOG_ERR("failed to %s to device: %s", write ? "write" : "read", tdev->name);
		return -EIO;
	}
	return 0;
}

int i3c_write_repeated_start(struct i3c_device_desc *target, const uint8_t *buf1,
			     const uint32_t num_bytes1, const uint8_t *buf2,
			     const uint32_t num_bytes2, const bool without_7eh)
{
	struct i3c_msg msg[2];

	msg[0].buf = (uint8_t *)buf1;
	msg[0].len = num_bytes1;
	msg[0].flags = without_7eh ? (I3C_MSG_WRITE | I3C_MSG_NBCH) : (I3C_MSG_WRITE);
	msg[0].hdr_mode = 0;
	msg[0].hdr_cmd_code = 0;

	msg[1].buf = (uint8_t *)buf2;
	msg[1].len = num_bytes2;
	msg[1].flags = without_7eh ? (I3C_MSG_WRITE | I3C_MSG_NBCH | I3C_MSG_STOP)
				   : (I3C_MSG_WRITE | I3C_MSG_STOP);
	msg[1].hdr_mode = 0;
	msg[1].hdr_cmd_code = 0;

	return i3c_transfer(target, msg, 2);
}

int i3c_read_repeated_start(struct i3c_device_desc *target, const uint8_t *buf1,
			    const uint32_t num_bytes1, const uint8_t *buf2,
			    const uint32_t num_bytes2, const bool without_7eh)
{
	struct i3c_msg msg[2];

	msg[0].buf = (uint8_t *)buf1;
	msg[0].len = num_bytes1;
	msg[0].flags = without_7eh ? (I3C_MSG_READ | I3C_MSG_NBCH | I3C_MSG_RESTART)
				   : (I3C_MSG_READ | I3C_MSG_RESTART);
	msg[0].hdr_mode = 0;
	msg[0].hdr_cmd_code = 0;

	msg[1].buf = (uint8_t *)buf2;
	msg[1].len = num_bytes2;
	msg[1].flags = without_7eh ? (I3C_MSG_READ | I3C_MSG_NBCH | I3C_MSG_STOP)
				   : (I3C_MSG_READ | I3C_MSG_STOP);
	msg[1].hdr_mode = 0;
	msg[1].hdr_cmd_code = 0;

	return i3c_transfer(target, msg, 2);
}

int i3c_write_read_nbytes_repeated_start(const struct device *dev, const struct device *tdev,
					 const bool write, const size_t nbytes, const uint8_t bios,
					 const bool without_7eh)
{
	struct i3c_device_desc *target;
	uint8_t buf1[64] = {0}, buf2[64] = {0};
	int ret;

	ret = i3c_get_tdev_desc(dev, tdev, &target);
	if (ret != 0) {
		return ret;
	}

	if (write) {
		for (size_t i = 0; i < nbytes; i++) {
			buf1[i] = i + bios * 7;
		}

		for (size_t i = 0; i < nbytes + 1; i++) {
			buf2[i] = 0xff - (i + bios * 7);
		}

		ret = i3c_write_repeated_start(target, buf1, nbytes, buf2, nbytes + 1, without_7eh);
	} else {
		ret = i3c_read_repeated_start(target, buf1, nbytes, buf2, nbytes, without_7eh);
		LOG_HEXDUMP_INF(buf1, nbytes, "rx-1 :");
		LOG_HEXDUMP_INF(buf2, nbytes, "rx-2 :");
	}

	if (ret < 0) {
		LOG_ERR("failed to write to device: %s", tdev->name);
		return -EIO;
	}
	return 0;
}

int libi3c_write(const struct device *controller_dev, const struct device *dummy_dev)
{
	int ret;
	struct i3c_device_desc *target;
	uint8_t tx_buf[10];

	ret = i3c_get_tdev_desc(controller_dev, dummy_dev, &target);
	if (ret != 0) {
		LOG_ERR("failed to get i3c target describing");
		return ret;
	}

	for (uint32_t i = 0; i < sizeof(tx_buf); i++) {
		tx_buf[i] = i;
	}

	ret = i3c_write(target, tx_buf, sizeof(tx_buf));
	if (ret) {
		LOG_ERR("failed to perform i3c write");
		return ret;
	}

	return 0;
}

int libi3c_read(const struct device *controller_dev, const struct device *dummy_dev,
		const struct device *target_dev)
{
	int ret;
	struct i3c_device_desc *target;
	uint8_t tgt_buf[10];
	uint8_t rx_buf[10];

	if (sizeof(tgt_buf) != sizeof(rx_buf)) {
		LOG_ERR("tgt and rx buffer size should be same");
		return -EINVAL;
	}

	ret = i3c_get_tdev_desc(controller_dev, dummy_dev, &target);
	if (ret != 0) {
		LOG_ERR("failed to get i3c target describing");
		return ret;
	}

	if (target_dev) {
		/* prepare data for controller read */
		for (uint32_t i = 0; i < sizeof(tgt_buf); i++) {
			tgt_buf[i] = i;
		}
#if CONFIG_I3C_TARGET
		uint8_t hdr_mode = 0;
		i3c_target_tx_write(target_dev, tgt_buf, sizeof(tgt_buf), hdr_mode);
#endif /* CONFIG_I3C_TARGET */
	}

	ret = i3c_read(target, rx_buf, sizeof(rx_buf));
	if (ret) {
		LOG_ERR("failed to perform i3c read");
		return ret;
	}

	if (target_dev) {
		ret = memcmp(tgt_buf, rx_buf, sizeof(rx_buf));
		if (ret) {
			LOG_ERR("%s: received data is error", __func__);
			return -EINVAL;
		}
	}

	return 0;
}

int libi3c_write_read(const struct device *controller_dev, const struct device *dummy_dev,
		      const struct device *target_dev)
{
	int ret;
	struct i3c_device_desc *target;
	uint8_t tgt_buf[10];
	uint8_t tx_buf[10];
	uint8_t rx_buf[10];

	if (sizeof(tgt_buf) != sizeof(rx_buf)) {
		LOG_ERR("tgt and rx buffer size should be same");
		return -EINVAL;
	}

	ret = i3c_get_tdev_desc(controller_dev, dummy_dev, &target);
	if (ret != 0) {
		LOG_ERR("failed to get i3c target describing");
		return ret;
	}

	if (target_dev) {
		/* prepare data for controller read */
		for (uint32_t i = 0; i < sizeof(tgt_buf); i++) {
			tgt_buf[i] = i;
		}
#if CONFIG_I3C_TARGET
		uint8_t hdr_mode = 0;
		i3c_target_tx_write(target_dev, tgt_buf, sizeof(tgt_buf), hdr_mode);
#endif /* CONFIG_I3C_TARGET */
	}

	for (uint32_t i = 0; i < sizeof(tx_buf); i++) {
		tx_buf[i] = 0xff - i;
	}

	ret = i3c_write_read(target, tx_buf, sizeof(tx_buf), rx_buf, sizeof(rx_buf));
	if (ret) {
		LOG_ERR("failed to perform i3c write read");
		return ret;
	}

	if (target_dev) {
		ret = memcmp(tgt_buf, rx_buf, sizeof(rx_buf));
		if (ret) {
			LOG_ERR("%s: received data is error", __func__);
			return -EINVAL;
		}
	}

	return 0;
}

int libi3c_burst_read(const struct device *controller_dev, const struct device *dummy_dev,
		      const struct device *target_dev)
{
	int ret;
	struct i3c_device_desc *target;
	uint8_t start_addr = 0xAA;
	uint8_t tgt_buf[10];
	uint8_t rx_buf[10];

	if (sizeof(tgt_buf) != sizeof(rx_buf)) {
		LOG_ERR("tgt and rx buffer size should be same");
		return -EINVAL;
	}

	ret = i3c_get_tdev_desc(controller_dev, dummy_dev, &target);
	if (ret != 0) {
		LOG_ERR("failed to get i3c target describing");
		return ret;
	}

	if (target_dev) {
		/* prepare data for controller read */
		for (uint32_t i = 0; i < sizeof(tgt_buf); i++) {
			tgt_buf[i] = i;
		}
#if CONFIG_I3C_TARGET
		uint8_t hdr_mode = 0;
		i3c_target_tx_write(target_dev, tgt_buf, sizeof(tgt_buf), hdr_mode);
#endif /* CONFIG_I3C_TARGET */
	}

	ret = i3c_burst_read(target, start_addr, rx_buf, sizeof(rx_buf));
	if (ret) {
		LOG_ERR("failed to perform i3c burst read");
		return ret;
	}

	if (target_dev) {
		ret = memcmp(tgt_buf, rx_buf, sizeof(rx_buf));
		if (ret) {
			LOG_ERR("%s: received data is error", __func__);
			return -EINVAL;
		}
	}

	return 0;
}

int libi3c_burst_write(const struct device *controller_dev, const struct device *dummy_dev)
{
	int ret;
	struct i3c_device_desc *target;
	uint8_t start_addr = 0xBB;
	uint8_t tx_buf[10];

	ret = i3c_get_tdev_desc(controller_dev, dummy_dev, &target);
	if (ret != 0) {
		LOG_ERR("failed to get i3c target describing");
		return ret;
	}

	for (uint32_t i = 0; i < sizeof(tx_buf); i++) {
		tx_buf[i] = i;
	}

	ret = i3c_burst_write(target, start_addr, tx_buf, sizeof(tx_buf));
	if (ret) {
		LOG_ERR("failed to perform i3c burst write");
		return ret;
	}

	return 0;
}

int libi3c_reg_read_byte(const struct device *controller_dev, const struct device *dummy_dev,
			 const struct device *target_dev, const uint8_t reg_addr,
			 uint8_t *reg_value)
{
	int ret;
	struct i3c_device_desc *target;
	uint8_t tgt_buf = 0xC0;

	ret = i3c_get_tdev_desc(controller_dev, dummy_dev, &target);
	if (ret != 0) {
		LOG_ERR("failed to get i3c target describing");
		return ret;
	}

	if (target_dev) {
#if CONFIG_I3C_TARGET
		uint8_t hdr_mode = 0;
		i3c_target_tx_write(target_dev, &tgt_buf, 1, hdr_mode);
#endif /* CONFIG_I3C_TARGET */
	}

	ret = i3c_reg_read_byte(target, reg_addr, reg_value);
	if (ret) {
		LOG_ERR("failed to perform i3c reg read byte");
		return ret;
	}

	if (target_dev) {
		if (*reg_value != tgt_buf) {
			LOG_ERR("%s: failed to read byte", __func__);
			return -EIO;
		}
	}

	return 0;
}

int libi3c_reg_write_byte(const struct device *controller_dev, const struct device *dummy_dev,
			  const uint8_t reg_addr, const uint8_t reg_value)
{
	int ret;
	struct i3c_device_desc *target;

	ret = i3c_get_tdev_desc(controller_dev, dummy_dev, &target);
	if (ret != 0) {
		LOG_ERR("failed to get i3c target describing");
		return ret;
	}

	ret = i3c_reg_write_byte(target, reg_addr, reg_value);
	if (ret) {
		LOG_ERR("failed to perform i3c reg write byte");
		return ret;
	}

	return 0;
}

int libi3c_reg_update_byte(const struct device *controller_dev, const struct device *dummy_dev,
			   const struct device *target_dev, const uint8_t reg_addr, uint8_t mask,
			   uint8_t value)
{
	int ret;
	struct i3c_device_desc *target;

	ret = i3c_get_tdev_desc(controller_dev, dummy_dev, &target);
	if (ret != 0) {
		LOG_ERR("failed to get i3c target describing");
		return ret;
	}

	if (target_dev) {
#if CONFIG_I3C_TARGET
		uint8_t tgt_buf = 0xE0;
		uint8_t hdr_mode = 0;
		i3c_target_tx_write(target_dev, &tgt_buf, 1, hdr_mode);
#endif /* CONFIG_I3C_TARGET */
	}

	/* mask = 0x0F, value 0x0A
	 * this means set bit[3:0] = Ah
	 */
	ret = i3c_reg_update_byte(target, reg_addr, mask, value);
	if (ret) {
		LOG_ERR("failed to perform i3c reg update byte");
		return ret;
	}

	return 0;
}
```

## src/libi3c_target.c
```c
/*
 * Copyright (c) 2025 ITE Technology Inc.
 *
 * SPDX-License-Identifier: Apache-2.0
 */

#include "libi3c_target.h"

#include <zephyr/logging/log.h>
LOG_MODULE_REGISTER(libi3c_target, LOG_LEVEL_DBG);

#ifdef CONFIG_I3C_USE_IBI
int libi3c_target_ibi_tir(const struct device *dev, uint8_t *buf, const uint16_t data_length)
{
	struct i3c_ibi request;
	int ret;

	request.ibi_type = I3C_IBI_TARGET_INTR;
	request.payload = buf;
	request.payload_len = data_length;

	ret = i3c_ibi_raise(dev, &request);
	if (ret != 0) {
		LOG_ERR("unable to issue ibi tir");
		return ret;
	}

	// LOG_INF("finished to issue ibi tir");
	return 0;
}

int libi3c_target_ibi_hj(const struct device *dev)
{
	struct i3c_ibi request;
	int ret;

	request.ibi_type = I3C_IBI_HOTJOIN;
	ret = i3c_ibi_raise(dev, &request);
	if (ret != 0) {
		LOG_ERR("unable to issue ibi hj");
		return ret;
	}

	LOG_INF("finished to issue ibi hj");
	return 0;
}
#else
int libi3c_target_ibi_tir(const struct device *dev, uint8_t *buf, const uint16_t data_length)
{
	LOG_INF("KConfig IBI is disabled");
	return -ENOTSUP;
}

int libi3c_target_ibi_hj(const struct device *dev)
{
	LOG_INF("KConfig IBI is disabled");
	return -ENOTSUP;
}
#endif /* CONFIG_I3C_USE_IBI */
```

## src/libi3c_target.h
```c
/*
 * Copyright (c) 2025 ITE Technology Inc.
 *
 * SPDX-License-Identifier: Apache-2.0
 */

#ifndef _LIBI3C_TARGET_H_
#define _LIBI3C_TARGET_H_
#include <stddef.h>
#include <stdint.h>

#include <zephyr/drivers/i3c.h>
#include <zephyr/kernel.h>
#include <zephyr/sys/byteorder.h>

int libi3c_target_ibi_tir(const struct device *dev, uint8_t *buf, const uint16_t data_length);
int libi3c_target_ibi_hj(const struct device *dev);

#endif /* _LIBI3C_TARGET_H_ */
```
